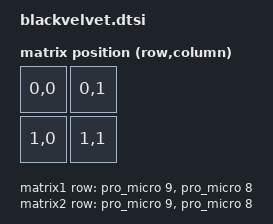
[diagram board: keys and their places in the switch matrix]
#include <dt-bindings/zmk/matrix_transform.h>

/ {
    chosen {
        zmk,kscan = &kscan0;
        zmk,matrix_transform = &default_transform;
    };

    default_transform: keymap_transform_0 {
        compatible = "zmk,matrix-transform";
        columns = <2>;
        rows = <2>;
        map = <
RC(0,0) RC(0,1)
RC(1,0) RC(1,1) 
        >;
    };

    kscan0: kscan {
        compatible = "zmk,kscan-composite";
        label = "KSCAN";
        rows = <2>;
        columns = <2>;

        matrix1 {
            kscan = <&matrix1>;
        };
        matrix2 {
            kscan = <&matrix2>;
        };
    };

    matrix1: kscan_matrix1 {
        label = "Matrix 1";
        compatible = "zmk,kscan-gpio-matrix";
        diode-direction = "row2col";
        row-gpios
            = <&pro_micro 9 (GPIO_ACTIVE_HIGH)>
            , <&pro_micro 8 (GPIO_ACTIVE_HIGH)>
            ;
    };

    matrix2: kscan_matrix2 {
        label = "Matrix 2";
        compatible = "zmk,kscan-gpio-matrix";
        diode-direction = "col2row";
        row-gpios
            = <&pro_micro 9 (GPIO_ACTIVE_HIGH | GPIO_PULL_DOWN)>
            , <&pro_micro 8 (GPIO_ACTIVE_HIGH | GPIO_PULL_DOWN)>
            ;
    };
};
